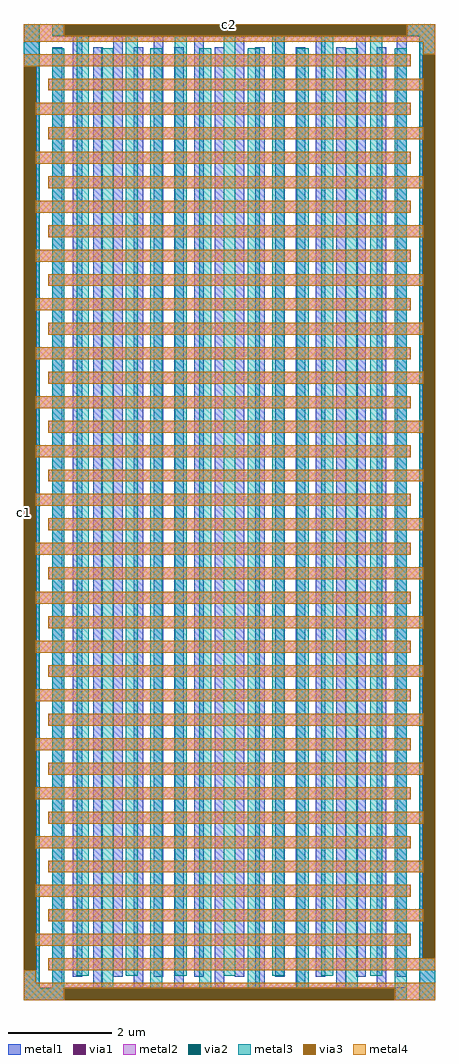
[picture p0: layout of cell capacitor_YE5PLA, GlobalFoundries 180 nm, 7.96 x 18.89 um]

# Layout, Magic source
magic
tech gf180mcuD
magscale 3 26
<< metal1 >>
rect 0 3134 52 3275
rect 96 3274 1380 3275
rect 96 3234 134 3274
rect 1286 3234 1380 3274
rect 96 3233 1380 3234
rect 0 100 1 3134
rect 41 100 52 3134
rect 0 42 52 100
rect 96 42 128 3197
rect 164 78 196 3233
rect 232 42 264 3197
rect 300 78 332 3233
rect 368 42 400 3197
rect 436 78 468 3233
rect 504 42 536 3197
rect 572 78 604 3233
rect 640 42 672 3197
rect 708 78 740 3233
rect 776 42 808 3197
rect 844 78 876 3233
rect 912 42 944 3197
rect 980 78 1012 3233
rect 1048 42 1080 3197
rect 1116 78 1148 3233
rect 1184 42 1216 3197
rect 1252 78 1284 3233
rect 1328 3174 1380 3233
rect 1328 140 1339 3174
rect 1379 140 1380 3174
rect 0 41 1284 42
rect 0 1 134 41
rect 1246 1 1284 41
rect 0 0 1284 1
rect 1328 0 1380 140
<< via1 >>
rect 134 3234 1286 3274
rect 1 100 41 3134
rect 1339 140 1379 3174
rect 134 1 1246 41
<< metal2 >>
rect 0 3274 136 3275
rect 1284 3274 1380 3275
rect 0 3234 134 3274
rect 1286 3234 1380 3274
rect 0 3216 1380 3234
rect 1339 3174 1380 3216
rect 0 3134 1296 3174
rect 84 3052 1339 3092
rect 41 2970 1296 3010
rect 84 2888 1339 2928
rect 41 2806 1296 2846
rect 84 2724 1339 2764
rect 41 2642 1296 2682
rect 84 2560 1339 2600
rect 41 2478 1296 2518
rect 84 2396 1339 2436
rect 41 2314 1296 2354
rect 84 2232 1339 2272
rect 41 2150 1296 2190
rect 84 2068 1339 2108
rect 41 1986 1296 2026
rect 84 1904 1339 1944
rect 41 1822 1296 1862
rect 84 1740 1339 1780
rect 41 1658 1296 1698
rect 84 1576 1339 1616
rect 41 1494 1296 1534
rect 84 1412 1339 1452
rect 41 1330 1296 1370
rect 84 1248 1339 1288
rect 41 1166 1296 1206
rect 84 1084 1339 1124
rect 41 1002 1296 1042
rect 84 920 1339 960
rect 41 838 1296 878
rect 84 756 1339 796
rect 41 674 1296 714
rect 84 592 1339 632
rect 41 510 1296 550
rect 84 428 1339 468
rect 41 346 1296 386
rect 84 264 1339 304
rect 41 182 1296 222
rect 84 100 1380 140
rect 0 58 41 100
rect 0 41 1380 58
rect 0 1 134 41
rect 1246 1 1380 41
rect 0 0 136 1
rect 1244 0 1380 1
<< via2 >>
rect 136 3274 1284 3275
rect 136 3235 1284 3274
rect 0 100 1 3134
rect 1 100 40 3134
rect 1340 140 1379 3174
rect 1379 140 1380 3174
rect 136 1 1244 40
rect 136 0 1244 1
<< metal3 >>
rect 0 3134 54 3275
rect 96 3235 136 3275
rect 1284 3235 1380 3275
rect 40 100 54 3134
rect 0 40 54 100
rect 96 40 136 3193
rect 178 82 218 3235
rect 260 40 300 3193
rect 342 82 382 3235
rect 424 40 464 3193
rect 506 82 546 3235
rect 588 40 628 3193
rect 670 82 710 3235
rect 752 40 792 3193
rect 834 82 874 3235
rect 916 40 956 3193
rect 998 82 1038 3235
rect 1080 40 1120 3193
rect 1162 82 1202 3235
rect 0 0 136 40
rect 1244 0 1284 3193
rect 1326 3174 1380 3235
rect 1326 140 1340 3174
rect 1326 0 1380 140
<< via3 >>
rect 136 3235 1284 3275
rect 0 100 40 3134
rect 136 0 1244 40
rect 1340 140 1380 3174
<< metal4 >>
rect 0 3235 136 3275
rect 1284 3235 1380 3275
rect 0 3216 1380 3235
rect 1340 3174 1380 3216
rect 0 3134 1298 3174
rect 82 3052 1340 3092
rect 40 2970 1298 3010
rect 82 2888 1340 2928
rect 40 2806 1298 2846
rect 82 2724 1340 2764
rect 40 2642 1298 2682
rect 82 2560 1340 2600
rect 40 2478 1298 2518
rect 82 2396 1340 2436
rect 40 2314 1298 2354
rect 82 2232 1340 2272
rect 40 2150 1298 2190
rect 82 2068 1340 2108
rect 40 1986 1298 2026
rect 82 1904 1340 1944
rect 40 1822 1298 1862
rect 82 1740 1340 1780
rect 40 1658 1298 1698
rect 82 1576 1340 1616
rect 40 1494 1298 1534
rect 82 1412 1340 1452
rect 40 1330 1298 1370
rect 82 1248 1340 1288
rect 40 1166 1298 1206
rect 82 1084 1340 1124
rect 40 1002 1298 1042
rect 82 920 1340 960
rect 40 838 1298 878
rect 82 756 1340 796
rect 40 674 1298 714
rect 82 592 1340 632
rect 40 510 1298 550
rect 82 428 1340 468
rect 40 346 1298 386
rect 82 264 1340 304
rect 40 182 1298 222
rect 82 100 1380 140
rect 0 58 40 100
rect 0 40 1380 58
rect 0 0 136 40
rect 1244 0 1380 40
<< labels >>
rlabel via3 2 1637 2 1637 0 c1
port 1 nsew
rlabel via3 690 3273 690 3273 0 c2
port 2 nsew
<< properties >>
string device csubckt cap_cmomf 0 0 1 1 w=6.9u l=16.374u mmin=1 mmax=4 subblock=0 mm_ok=1 c1 0 0 c2 0 0
string FIXED_BBOX 0 0 1380 3275
string gencell cap_cmomf
string library gf180mcu
string parameters w 6.9 l 16.374 value 9.28 class capacitor mmin 1 mmax 4 square 1 subblock 0 lmin 2.00 wmin 2.00 lmax 100.0 wmax 100.0 val {}
<< end >>
